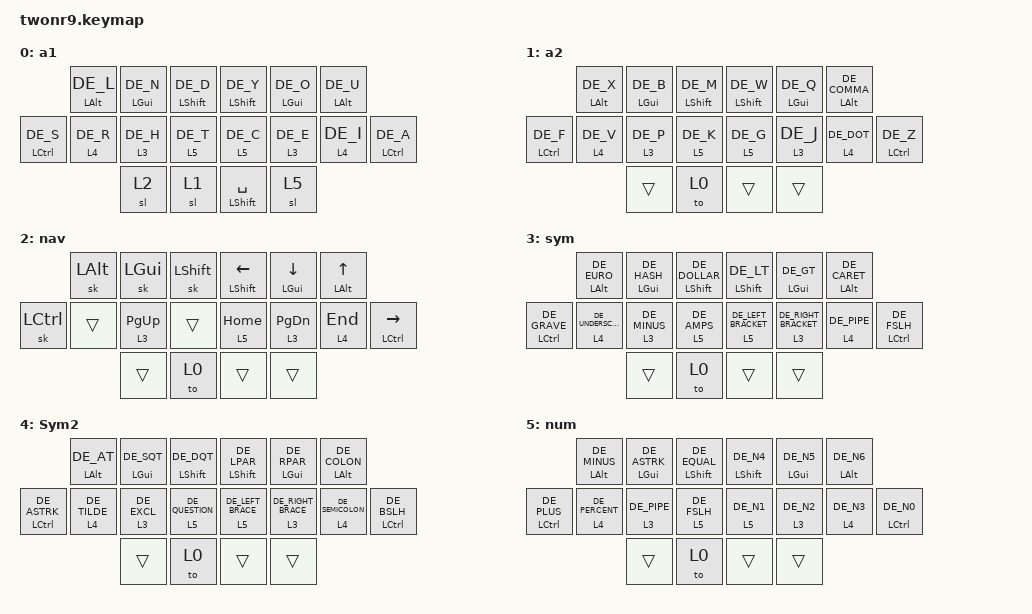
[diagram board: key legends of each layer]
#include <behaviors.dtsi>
#include <dt-bindings/zmk/keys.h>
#include "keys_de.h"
#include "zmk-helpers/helper.h"

//           ---------------------------------------------------
//             0 | 1 | 2              3 |  4 |  5     
//         6 | 7 | 8 | 9             10 | 11 | 12 | 13 
//                    14 | 15   16 | 17         
//           ---------------------------------------------------

/ {
    combos {
        compatible = "zmk,combos";

        combo_rl {
            bindings = <&macro_rl>;
            key-positions = <0 7>;
            layers = <0>;
            timeout-ms = <30>;
        };

        combo_hn {
            bindings = <&macro_hn>;
            key-positions = <1 8>;
            layers = <0>;
            timeout-ms = <30>;
        };

        combo_dt {
            bindings = <&macro_dt>;
            key-positions = <2 9>;
            layers = <0>;
            timeout-ms = <30>;
        };

        combo_cy {
            bindings = <&macro_cy>;
            key-positions = <3 10>;
            layers = <0>;
            timeout-ms = <30>;
        };

        combo_eo {
            bindings = <&macro_eo>;
            key-positions = <4 11>;
            layers = <0>;
            timeout-ms = <30>;
        };

        combo_ui {
            bindings = <&macro_ui>;
            key-positions = <5 12>;
            layers = <0>;
            timeout-ms = <30>;
        };

        combo_lr {
            bindings = <&macro_lr>;
            key-positions = <0 7>;
            layers = <1>;
            timeout-ms = <30>;
        };

        combo_nb {
            bindings = <&macro_nb>;
            key-positions = <1 8>;
            layers = <1>;
            timeout-ms = <30>;
        };

        combo_mt {
            bindings = <&macro_mt>;
            key-positions = <2 9>;
            layers = <1>;
            timeout-ms = <30>;
        };

        combo_gy {
            bindings = <&macro_gy>;
            key-positions = <3 10>;
            layers = <1>;
            timeout-ms = <30>;
        };

        combo_oe {
            bindings = <&macro_oe>;
            key-positions = <4 11>;
            layers = <1>;
            timeout-ms = <30>;
        };

        combo_iu {
            bindings = <&macro_iu>;
            key-positions = <5 12>;
            layers = <1>;
            timeout-ms = <30>;
        };

        combo_lbrc {
            bindings = <&kp DE_LBRC>;
            key-positions = <0 7>;
            timeout-ms = <30>;
            layers = <3>;
        };

        combo_lbrk {
            bindings = <&kp DE_LEFT_BRACKET>;
            key-positions = <1 8>;
            timeout-ms = <30>;
            layers = <3>;
        };

        combo_lpar {
            bindings = <&kp DE_LPAR>;
            key-positions = <2 9>;
            timeout-ms = <30>;
            layers = <3>;
        };

        combo_rpar {
            bindings = <&kp DE_RPAR>;
            key-positions = <3 10>;
            timeout-ms = <30>;
            layers = <3>;
        };

        combo_rbrk {
            bindings = <&kp DE_RIGHT_BRACKET>;
            key-positions = <13 4>;
            timeout-ms = <30>;
            layers = <3>;
        };

        combo_rbrc {
            bindings = <&kp DE_RBRC>;
            key-positions = <5 12>;
            timeout-ms = <30>;
            layers = <3>;
        };

        combo_lt {
            bindings = <&kp DE_LESS_THAN>;
            key-positions = <1 9>;
            timeout-ms = <30>;
            layers = <3 2>;
        };

        combo_gt {
            bindings = <&kp DE_GT>;
            key-positions = <4 10>;
            timeout-ms = <30>;
            layers = <3 2>;
        };

        combo_fslsh {
            bindings = <&kp DE_FSLH>;
            key-positions = <7 1>;
            timeout-ms = <30>;
            layers = <3 0 1 2>;
        };

        combo_bslsh {
            bindings = <&kp DE_BACKSLASH>;
            key-positions = <4 12>;
            timeout-ms = <30>;
            layers = <3 0 1 2>;
        };

        combo_tab {
            bindings = <&kp TAB>;
            key-positions = <1 0>;
            timeout-ms = <30>;
        };

        combo_rtn {
            bindings = <&kp RETURN>;
            key-positions = <2 1>;
            timeout-ms = <30>;
        };

        combo_bspc {
            bindings = <&kp BSPC>;
            key-positions = <3 4>;
            timeout-ms = <30>;
            layers = <0 1 2>;
        };

        combo_cbspc {
            bindings = <&kp LC(BSPC)>;
            key-positions = <4 5>;
            timeout-ms = <30>;
        };

        combo_esc {
            bindings = <&kp ESC>;
            key-positions = <4 5 3>;
            timeout-ms = <30>;
        };

        combo_stdio {
            bindings = <&studio_unlock>;
            key-positions = <9 8 7>;
            layers = <3>;
            timeout-ms = <50>;
            require-prior-idle-ms = <200>;
        };

        combo_minus {
            bindings = <&kp DE_MINUS>;
            key-positions = <12 10>;
            timeout-ms = <30>;
        };

        combo_7 {
            bindings = <&kp DE_N7>;
            key-positions = <3 10>;
            layers = <5>;
            timeout-ms = <30>;
        };

        combo_8 {
            bindings = <&kp DE_N8>;
            key-positions = <4 11>;
            layers = <5>;
            timeout-ms = <30>;
        };

        combo_9 {
            bindings = <&kp DE_N9>;
            key-positions = <12 5>;
            layers = <5>;
            timeout-ms = <30>;
        };

        combo_question {
            bindings = <&kp DE_QMARK>;
            key-positions = <0 1>;
            timeout-ms = <30>;
            layers = <3>;
        };

        combo_rpt {
            bindings = <&sk LEFT_SHIFT>;
            key-positions = <9 8>;
            timeout-ms = <40>;
        };

        xombo_repeat_r {
            bindings = <&sk LEFT_SHIFT>;
            key-positions = <11 10>;
            timeout-ms = <40>;
        };
    };

    macros {
        macro_rl: macro_rl {
            compatible = "zmk,behavior-macro";
            #binding-cells = <0>;
            bindings = <&kp DE_R &kp DE_L>;
            label = "MACRO_RL";
        };

        macro_hn: hn {
            compatible = "zmk,behavior-macro";
            #binding-cells = <0>;
            bindings = <&kp DE_H &kp DE_N>;
            label = "HN";
        };

        macro_dt: dt {
            compatible = "zmk,behavior-macro";
            #binding-cells = <0>;
            bindings = <&kp DE_D &kp DE_T>;
            label = "DT";
        };

        macro_cy: cy {
            compatible = "zmk,behavior-macro";
            #binding-cells = <0>;
            bindings = <&kp DE_C &kp DE_Y>;
            label = "CY";
        };

        macro_eo: eo {
            compatible = "zmk,behavior-macro";
            #binding-cells = <0>;
            bindings = <&kp DE_E &kp DE_O>;
            label = "EO";
        };

        macro_ui: ui {
            compatible = "zmk,behavior-macro";
            #binding-cells = <0>;
            bindings = <&kp DE_U &kp DE_I>;
            label = "UI";
        };

        macro_lr: lr {
            compatible = "zmk,behavior-macro";
            #binding-cells = <0>;
            bindings = <&kp DE_L &kp DE_R>;
            label = "LR";
        };

        macro_nb: nb {
            compatible = "zmk,behavior-macro";
            #binding-cells = <0>;
            bindings = <&kp DE_N &kp DE_B>;
            label = "NB";
        };

        macro_mt: mt_macro {
            compatible = "zmk,behavior-macro";
            #binding-cells = <0>;
            bindings = <&kp DE_M &kp DE_T>;
            label = "MT_MACRO";
        };

        macro_gy: gy {
            compatible = "zmk,behavior-macro";
            #binding-cells = <0>;
            bindings = <&kp DE_G &kp DE_Y>;
            label = "GY";
        };

        macro_oe: oe {
            compatible = "zmk,behavior-macro";
            #binding-cells = <0>;
            bindings = <&kp DE_O &kp DE_E>;
            label = "OE";
        };

        macro_iu: iu {
            compatible = "zmk,behavior-macro";
            #binding-cells = <0>;
            bindings = <&kp DE_I &kp DE_U>;
            label = "IU";
        };
    };

        // ZMK_HOLD_TAP(hml,
        //     flavor = "balanced";
        //     tapping-term-ms = <280>;
        //     quick-tap-ms = <175>;
        //     require-prior-idle-ms = <150>;
        //     bindings = <&kp>, <&kp>;
        //     hold-trigger-key-positions = <4 5 6 7 12 13 14 15 19 18>;
        //     hold-trigger-on-release;
        // )

        // /* Right-hand HRMs. */
        // ZMK_HOLD_TAP(hmr,
        //     flavor = "balanced";
        //     tapping-term-ms = <280>;
        //     quick-tap-ms = <175>;
        //     require-prior-idle-ms = <150>;
        //     bindings = <&kp>, <&kp>;
        //     hold-trigger-key-positions = <0 3 8 9 10 11 16 17 2 1>;
        //     hold-trigger-on-release;
        // )

    behaviors {
        hml: hml {
            compatible = "zmk,behavior-hold-tap";
            label = "HML";
            flavor = "balanced";
            tapping-term-ms = <280>;
            quick-tap-ms = <175>;
            require-prior-idle-ms = <150>;
            bindings = <&kp>, <&kp>;
            #binding-cells = <2>;
            hold-trigger-key-positions = <4 5 6 7 12 13 14 15 19 18>;
            hold-trigger-on-release;
        };
 
        hmr: hmr {
            compatible = "zmk,behavior-hold-tap";
            label = "HMR";
            flavor = "balanced";
            tapping-term-ms = <280>;
            quick-tap-ms = <175>;
            require-prior-idle-ms = <150>;
            bindings = <&kp>, <&kp>;
            #binding-cells = <2>;
            hold-trigger-key-positions = <4 5 6 7 12 13 14 15 19 18>;
            hold-trigger-on-release;
        };
                   
        
        lt_r4: lt_r4 {
            compatible = "zmk,behavior-hold-tap";
            label = "LT_R4";
            bindings = <&mo>, <&kp>;

            #binding-cells = <2>;
            flavor = "tap-preferred";
            require-prior-idle-ms = <50>;
            tapping-term-ms = <150>;
        };
    };

    keymap {
        compatible = "zmk,keymap";

        a1 {
            bindings = <
                 &hml LEFT_ALT DE_L  &hml LEFT_GUI DE_N  &hml LEFT_SHIFT DE_D  &hmr LEFT_SHIFT DE_Y  &hmr LEFT_GUI DE_O  &hmr LEFT_ALT DE_U
&hml LCTRL DE_S  &lt_r4 4 DE_R       &lt_r4 3 DE_H       &lt_r4 5 DE_T         &lt_r4 5 DE_C         &lt_r4 3 DE_E       &lt_r4 4 DE_I       &hmr LCTRL DE_A
                                     &sl 2               &sl 1                 &mt LEFT_SHIFT SPACE  &sl 5
            >;
        };

        a2 {
            bindings = <
                        &hml LEFT_ALT DE_X  &hml LEFT_GUI DE_B  &hml LEFT_SHIFT DE_M  &hmr LEFT_SHIFT DE_W  &hmr LEFT_GUI DE_Q  &hmr LEFT_ALT DE_COMMA
&hml LEFT_CONTROL DE_F  &lt_r4 4 DE_V       &lt_r4 3 DE_P       &lt_r4 5 DE_K         &lt_r4 5 DE_G         &lt_r4 3 DE_J       &lt_r4 4 DE_DOT         &hmr LEFT_CONTROL DE_Z
                                            &trans              &to 0                 &trans                &trans
            >;

            label = "a2";
        };

        nav {
            bindings = <
           &sk LALT  &sk LGUI        &sk LSHFT  &hmr LEFT_SHIFT LEFT_ARROW  &hmr LEFT_GUI DOWN  &hmr LEFT_ALT UP
&sk LCTRL  &trans    &lt_r4 3 PG_UP  &trans     &lt_r4 5 HOME               &lt_r4 3 PG_DN      &lt_r4 4 END      &hmr LCTRL RIGHT
                     &trans          &to 0      &trans                      &trans
            >;

            label = "nav";
        };

        sym {
            bindings = <
                     &hml LEFT_ALT DE_EURO   &hml LEFT_GUI DE_HASH  &hml LEFT_SHIFT DE_DOLLAR  &hmr LEFT_SHIFT DE_LT     &hmr LEFT_GUI DE_GT        &hmr LEFT_ALT DE_CARET
&hml LCTRL DE_GRAVE  &lt_r4 4 DE_UNDERSCORE  &lt_r4 3 DE_MINUS      &lt_r4 5 DE_AMPS           &lt_r4 5 DE_LEFT_BRACKET  &lt_r4 3 DE_RIGHT_BRACKET  &lt_r4 4 DE_PIPE        &hmr LCTRL DE_FSLH
                                             &trans                 &to 0                      &trans                    &trans
            >;

            label = "sym";
        };

        sym2 {
            label = "Sym2";
            bindings = <
                     &hml LEFT_ALT DE_AT  &hml LEFT_GUI DE_SQT  &hml LEFT_SHIFT DE_DQT  &hmr LEFT_SHIFT DE_LPAR  &hmr LEFT_GUI DE_RPAR    &hmr LEFT_ALT DE_COLON
&hml LCTRL DE_ASTRK  &lt_r4 4 DE_TILDE    &lt_r4 3 DE_EXCL      &lt_r4 5 DE_QUESTION    &lt_r4 5 DE_LEFT_BRACE   &lt_r4 3 DE_RIGHT_BRACE  &lt_r4 4 DE_SEMICOLON   &hmr LCTRL DE_BSLH
                                          &trans                &to 0                   &trans                   &trans
            >;
        };

        num {
            bindings = <
                    &hml LEFT_ALT DE_MINUS  &hml LEFT_GUI DE_ASTRK  &hml LEFT_SHIFT DE_EQUAL  &hmr LEFT_SHIFT DE_N4  &hmr LEFT_GUI DE_N5  &hmr LEFT_ALT DE_N6
&hml LCTRL DE_PLUS  &lt_r4 4 DE_PERCENT     &lt_r4 3 DE_PIPE        &lt_r4 5 DE_FSLH          &lt_r4 5 DE_N1         &lt_r4 3 DE_N2       &lt_r4 4 DE_N3       &hmr LCTRL DE_N0
                                            &trans                  &to 0                     &trans                 &trans
            >;
        };
    };
};
